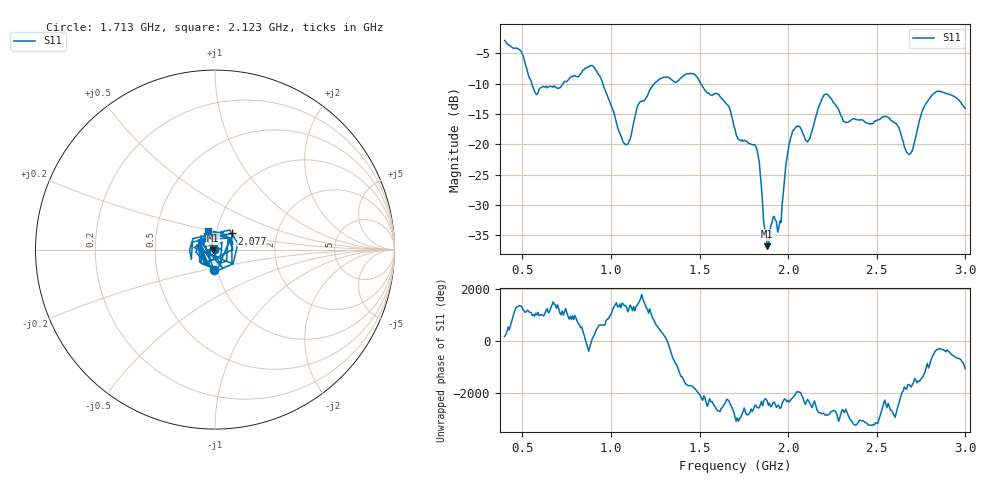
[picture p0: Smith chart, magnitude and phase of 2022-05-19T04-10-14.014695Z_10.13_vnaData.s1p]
!Created with skrf (http://scikit-rf.org).
# Hz S RI R 50.0
!freq ReS11 ImS11
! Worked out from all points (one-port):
!   401 points, 400 MHz to 3 GHz, reference 50 ohm
!   lowest |S11| = -36.8 dB at 1.882 GHz (marker M1), VSWR 1.03, Z = 48.6 - j0.42 ohm
!   |S11| at or under -10 dB: 553.4 MHz to 729.4 MHz (176 MHz wide, 27.4 % of centre); 953.9 MHz to 1.245 GHz (291.4 MHz wide, 26.5 % of centre); 1.507 GHz to end of sweep
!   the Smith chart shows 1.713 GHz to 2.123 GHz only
!   S11 on the Smith chart (normalised r, x): 1.713 GHz: 0.96, -0.22; 2.077 GHz: 1.19, +0.22; 2.123 GHz: 0.91, +0.19
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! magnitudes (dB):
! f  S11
! 400 MHz  -2.9
! 491 MHz  -4.6
! 575.5 MHz  -11.6
! 725 MHz  -10.1
! 900.5 MHz  -7.2
! 1.05 GHz  -18.1
! 1.095 GHz  -20.0
! 1.154 GHz  -13.5
! 1.258 GHz  -9.6
! 1.375 GHz  -9.6
! 1.472 GHz  -8.5
! 1.655 GHz  -13.4
! 1.7 GHz  -17.5
! 1.713 GHz  -18.9
! 1.823 GHz  -20.8
! 1.882 GHz  -36.8
! 1.915 GHz  -32.1
! 1.954 GHz  -32.6
! 1.992 GHz  -22.3
! 2.025 GHz  -17.8
! 2.077 GHz  -17.7
! 2.123 GHz  -19.0
! 2.207 GHz  -11.8
! 2.35 GHz  -16.2
! 2.558 GHz  -15.4
! 2.675 GHz  -21.5
! 2.825 GHz  -11.5
! 3 GHz  -14.1
